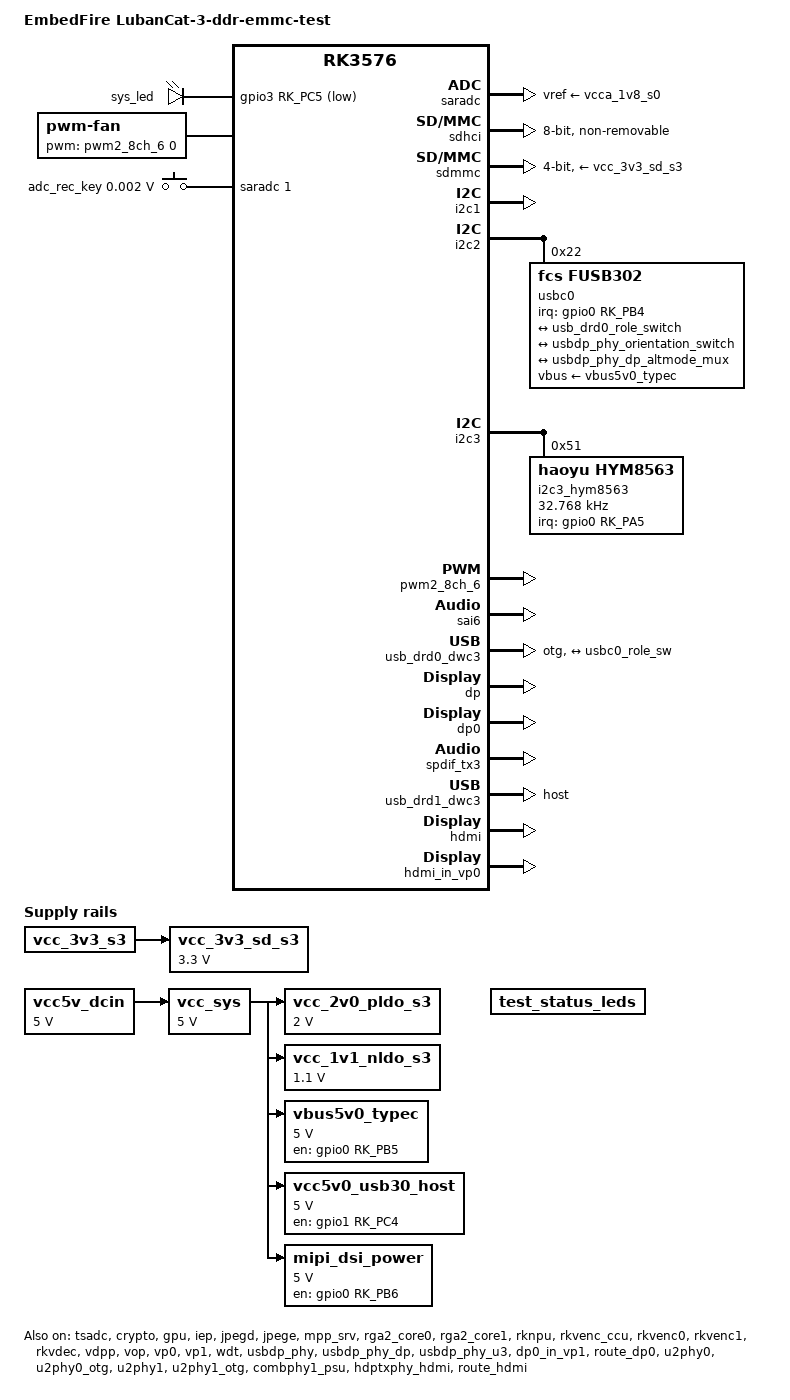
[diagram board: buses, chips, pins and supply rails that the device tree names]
// SPDX-License-Identifier: (GPL-2.0+ OR MIT)
/*
* Copyright (c) 2024 Rockchip Electronics Co., Ltd.
* Copyright (c) 2026 EmbedFire <embedfire@embedfire.com>
*/

/dts-v1/;
#include <dt-bindings/usb/pd.h>
#include <dt-bindings/gpio/gpio.h>
#include <dt-bindings/pwm/pwm.h>
#include <dt-bindings/pinctrl/rockchip.h>
//#include <dt-bindings/input/rk-input.h>
#include <dt-bindings/input/linux-event-codes.h>
#include <dt-bindings/display/drm_mipi_dsi.h>
#include <dt-bindings/display/rockchip_vop.h>
#include <dt-bindings/sensor-dev.h>
#include "rk3576.dtsi"
#include "rk3576-linux.dtsi"
#include "rk3576-rk806.dtsi"

/ {
	model = "EmbedFire LubanCat-3-ddr-emmc-test";
	compatible = "embedfire,rk3576-lubancat-3-ddr-emmc-test", "rockchip,rk3576";

	vcc5v_dcin: vcc5v-dcin {
		compatible = "regulator-fixed";
		regulator-name = "vcc5v_dcin";
		regulator-always-on;
		regulator-boot-on;
		regulator-min-microvolt = <5000000>;
		regulator-max-microvolt = <5000000>;
	};

	vcc_sys: vcc5v0-sys {
		compatible = "regulator-fixed";
		regulator-name = "vcc_sys";
		regulator-always-on;
		regulator-boot-on;
		regulator-min-microvolt = <5000000>;
		regulator-max-microvolt = <5000000>;
		vin-supply = <&vcc5v_dcin>;
	};

	vcc_2v0_pldo_s3: vcc-2v0-pldo-s3 {
		compatible = "regulator-fixed";
		regulator-name = "vcc_2v0_pldo_s3";
		regulator-boot-on;
		regulator-always-on;
		regulator-min-microvolt = <2000000>;
		regulator-max-microvolt = <2000000>;
		vin-supply = <&vcc_sys>;
	};

	vcc_1v1_nldo_s3: vcc-1v1-nldo-s3 {
		compatible = "regulator-fixed";
		regulator-name = "vcc_1v1_nldo_s3";
		regulator-boot-on;
		regulator-always-on;
		regulator-min-microvolt = <1100000>;
		regulator-max-microvolt = <1100000>;
		vin-supply = <&vcc_sys>;
	};

	vcc_3v3_sd_s3: vcc-3v3-sd-s3 {
		compatible = "regulator-fixed";
		regulator-name = "vcc_3v3_sd_s3";
		regulator-always-on;
		regulator-boot-on;
		regulator-min-microvolt = <3300000>;
		regulator-max-microvolt = <3300000>;
		vin-supply = <&vcc_3v3_s3>;
	};

	vbus5v0_typec: vbus5v0-typec {
		compatible = "regulator-fixed";
		regulator-name = "vbus5v0_typec";
		regulator-min-microvolt = <5000000>;
		regulator-max-microvolt = <5000000>;
		enable-active-high;
		gpio = <&gpio0 RK_PB5 GPIO_ACTIVE_HIGH>;
		vin-supply = <&vcc_sys>;
		pinctrl-names = "default";
		pinctrl-0 = <&typec_vbus_en>;
	};

	vcc5v0_usb30_host: vcc5v0-usb30-host {
		compatible = "regulator-fixed";
		regulator-name = "vcc5v0_usb30_host";
		regulator-min-microvolt = <5000000>;
		regulator-max-microvolt = <5000000>;
		regulator-always-on;
		regulator-boot-on;
		enable-active-high;
		gpio = <&gpio1 RK_PC4 GPIO_ACTIVE_HIGH>;
		vin-supply = <&vcc_sys>;
		pinctrl-names = "default";
		pinctrl-0 = <&usb30_host_pwr_en>;
	};

	mipi_dsi_power: mipi-dsi-power {
		compatible = "regulator-fixed";
		regulator-name = "mipi_dsi_power";
		regulator-min-microvolt = <5000000>;
		regulator-max-microvolt = <5000000>;
		regulator-always-on;
		regulator-boot-on;
		enable-active-high;
		gpio = <&gpio0 RK_PB6 GPIO_ACTIVE_HIGH>;
		vin-supply = <&vcc_sys>;
		pinctrl-names = "default";
		pinctrl-0 = <&lcd_pwr_en>;
	};

	hdmi_sound: hdmi-sound {
		compatible = "rockchip,hdmi";
		rockchip,mclk-fs = <128>;
		rockchip,card-name = "rockchip-hdmi";
		rockchip,cpu = <&sai6>;
		rockchip,codec = <&hdmi>;
		rockchip,jack-det;
	};

	dp0_sound: dp0-sound {
		compatible = "rockchip,hdmi";
		rockchip,mclk-fs = <512>;
		rockchip,card-name = "rockchip-dp0";
		rockchip,cpu = <&spdif_tx3>;
		rockchip,codec = <&dp0 1>;
		rockchip,jack-det;
	};

	leds: leds {
		status = "okay";
		compatible = "gpio-leds";

		sys_led: sys-led {
			label = "sys_led";
			linux,default-trigger = "heartbeat";
			default-state = "on";
			gpios = <&gpio3 RK_PC5 GPIO_ACTIVE_LOW>;
			pinctrl-names = "default";
			pinctrl-0 = <&sys_status_led_pin>;
		};
	};

	test_status_leds: test-status-leds {
		compatible = "regulator-fixed";
		regulator-name = "test_status_leds";
		pinctrl-names = "default";
		pinctrl-0 = <&test_status_leds_pin>;
	};

	fan: pwm-fan {
		compatible = "pwm-fan";
		#cooling-cells = <2>;
		pwms = <&pwm2_8ch_6 0 5000 0>;
		cooling-levels = <0 100 150 200 255>;
		rockchip,temp-trips = <
			40000	1
			55000	2
			60000	3
			65000	4
		>;
	};

    adc_rec_keys: adc-rec-keys {
		compatible = "adc-keys";
		io-channels = <&saradc 1>;
		io-channel-names = "buttons";
		keyup-threshold-microvolt = <1800000>;
		poll-interval = <100>;

		adc-rec-key {
			label = "adc_rec_key";
			linux,code = <250>;
			press-threshold-microvolt = <1750>;
		};
	};

	test-power {
		status = "okay";
	};
};

&saradc {
	status = "okay";
	vref-supply = <&vcca_1v8_s0>;
};

&tsadc {
	status = "okay";
};

&sdhci {
	bus-width = <8>;
	no-sdio;
	no-sd;
	non-removable;
	max-frequency = <200000000>;
	mmc-hs400-1_8v;
	mmc-hs400-enhanced-strobe;
	full-pwr-cycle-in-suspend;
	status = "okay";
};

&sdmmc {
	max-frequency = <200000000>;
	no-sdio;
	no-mmc;
	bus-width = <4>;
	cap-mmc-highspeed;
	cap-sd-highspeed;
	disable-wp;
	sd-uhs-sdr104;
	vmmc-supply = <&vcc_3v3_sd_s3>;
	vqmmc-supply = <&vccio_sd_s0>;
	pinctrl-names = "default";
	pinctrl-0 = <&sdmmc0_clk &sdmmc0_cmd &sdmmc0_det &sdmmc0_bus4>;
	status = "okay";
};

&i2c1 {
	pinctrl-names = "default";
	pinctrl-0 = <&i2c1m0_xfer>;
	status = "okay";
};

&i2c2 {
	pinctrl-names = "default";
	pinctrl-0 = <&i2c2m0_xfer>;
	status = "okay";

	/* Typec Controller Fusb302 */
	usbc0: fusb302@22 {
		compatible = "fcs,fusb302";
		reg = <0x22>;
		interrupt-parent = <&gpio0>;
		interrupts = <RK_PB4 IRQ_TYPE_LEVEL_LOW>;
		pinctrl-names = "default";
		pinctrl-0 = <&fusb302_int>;
		vbus-supply = <&vbus5v0_typec>;
		status = "okay";

		ports {
			#address-cells = <1>;
			#size-cells = <0>;

			port@0 {
				reg = <0>;
				usbc0_role_sw: endpoint@0 {
					remote-endpoint = <&usb_drd0_role_switch>;
				};
			};
		};

		usb_con: connector {
			compatible = "usb-c-connector";
			label = "USB-C";
			data-role = "dual";
			power-role = "dual";
			try-power-role = "sink";
			op-sink-microwatt = <1000000>;
			sink-pdos =
				<PDO_FIXED(5000, 1000, PDO_FIXED_USB_COMM)>;
			source-pdos =
				<PDO_FIXED(5000, 3000, PDO_FIXED_USB_COMM)>;

			altmodes {
				#address-cells = <1>;
				#size-cells = <0>;

				altmode@0 {
					reg = <0>;
					svid = <0xff01>;
					vdo = <0xffffffff>;
				};
			};

			ports {
				#address-cells = <1>;
				#size-cells = <0>;

				port@0 {
					reg = <0>;
					usbc0_orien_sw: endpoint {
						remote-endpoint = <&usbdp_phy_orientation_switch>;
					};
				};

				port@1 {
					reg = <1>;
					dp_altmode_mux: endpoint {
						remote-endpoint = <&usbdp_phy_dp_altmode_mux>;
					};
				};
			};
		};
	};
};

&i2c3 {
	pinctrl-names = "default";
	pinctrl-0 = <&i2c3m0_xfer>;
	status = "okay";

	/* bm8563 rtc chip use rtc-hym8563 driver */
	i2c3_hym8563: i2c3-hym8563@51 {
		compatible = "haoyu,hym8563";
		reg = <0x51>;
		#clock-cells = <0>;
		clock-frequency = <32768>;
		clock-output-names = "hym8563";
		pinctrl-names = "default";
		pinctrl-0 = <&hym8563_int>;
		interrupt-parent = <&gpio0>;
		interrupts = <RK_PA5 IRQ_TYPE_LEVEL_LOW>;
		wakeup-source;
	};
};

&pwm2_8ch_6 {
	status = "okay";
	pinctrl-0 = <&pwm2m0_ch6>;
};

&cpu_l0 {
	cpu-supply = <&vdd_cpu_lit_s0>;
};

&cpu_b0 {
	cpu-supply = <&vdd_cpu_big_s0>;
};

&crypto {
	status = "okay";
};

&gpu {
	mali-supply = <&vdd_gpu_s0>;
	status = "okay";
};

&iep {
	status = "okay";
};

&iep_mmu {
	status = "okay";
};

&jpegd {
	status = "okay";
};

&jpege {
	status = "okay";
};

&jpeg_mmu {
	status = "okay";
};

&mpp_srv {
	status = "okay";
};

&rga2_core0 {
	status = "okay";
};

&rga2_core0_mmu {
	status = "okay";
};

&rga2_core1 {
	status = "okay";
};

&rga2_core1_mmu {
	status = "okay";
};

&rknpu {
	rknpu-supply = <&vdd_npu_s0>;
	status = "okay";
};

&rknpu_mmu {
	status = "okay";
};

&rkvenc_ccu {
	status = "okay";
};

&rkvenc0 {
	status = "okay";
};

&rkvenc0_mmu {
	status = "okay";
};

&rkvenc1 {
	status = "okay";
};

&rkvenc1_mmu {
	status = "okay";

};

&rkvdec {
	status = "okay";
};

&rkvdec_mmu {
	status = "okay";
};

&rockchip_suspend {
	status = "okay";
	rockchip,sleep-debug-en = <1>;

	rockchip,sleep-io-ret-config = <
		(0
		| RKPM_VCCIO3_RET_EN
		)
	>;

	rockchip,regulator-on-before-mem = <&vdd_npu_s0>;
};

&sai6 {
	status = "okay";
};

&vdpp {
	status = "okay";
};

&vop {
	status = "okay";
	vop-supply = <&vdd_logic_s0>;
};

&vop_mmu {
	status = "okay";
};

&vp0 {
	rockchip,plane-mask = <(1 << ROCKCHIP_VOP2_CLUSTER0 | 1 << ROCKCHIP_VOP2_ESMART0)>;
	rockchip,primary-plane = <ROCKCHIP_VOP2_ESMART0>;
	cursor-win-id = <ROCKCHIP_VOP2_CLUSTER0>;
};

&vp1 {
	rockchip,plane-mask = <(1 << ROCKCHIP_VOP2_CLUSTER1 | 1 << ROCKCHIP_VOP2_ESMART1)>;
	rockchip,primary-plane = <ROCKCHIP_VOP2_ESMART1>;
	cursor-win-id = <ROCKCHIP_VOP2_CLUSTER1>;
};

&vp2 {
	rockchip,plane-mask = <(1 << ROCKCHIP_VOP2_ESMART2 | 1 << ROCKCHIP_VOP2_ESMART3)>;
	rockchip,primary-plane = <ROCKCHIP_VOP2_ESMART2>;
	cursor-win-id = <ROCKCHIP_VOP2_ESMART3>;
};

&vp2 {
	esmart_lb_mode = /bits/ 8 <5>;
};

/* this is a watchdog */
&wdt {
	status = "okay";
};

/* USB3 OTG0/DP1.4 Alt */
&usbdp_phy {
	orientation-switch;
	svid = <0xff01>;
	sbu1-dc-gpios = <&gpio4 RK_PC4 GPIO_ACTIVE_HIGH>;
	sbu2-dc-gpios = <&gpio4 RK_PC5 GPIO_ACTIVE_HIGH>;
	status = "okay";

	port {
		#address-cells = <1>;
		#size-cells = <0>;

		usbdp_phy_orientation_switch: endpoint@0 {
			reg = <0>;
			remote-endpoint = <&usbc0_orien_sw>;
		};

		usbdp_phy_dp_altmode_mux: endpoint@1 {
			reg = <1>;
			remote-endpoint = <&dp_altmode_mux>;
		};
	};
};

&usbdp_phy_dp {
	status = "okay";
};

&usbdp_phy_u3 {
	status = "okay";
};

&usb_drd0_dwc3 {
	dr_mode = "otg";
	usb-role-switch;
	status = "okay";
	snps,parkmode-disable-hs-quirk;
	snps,parkmode-disable-ss-quirk;
	snps,dis_u3_susphy_quirk;
	snps,dis_u2_susphy_quirk;
	port {
		usb_drd0_role_switch: endpoint {
			remote-endpoint = <&usbc0_role_sw>;
		};
	};
};

/* DP */
&dp {
	status = "okay";
};

&dp0 {
	status = "okay";
};

&dp0_in_vp0 {
	status = "disabled";
};

&dp0_in_vp1 {
	status = "okay";
};

&dp0_in_vp2 {
	status = "disabled";
};

&vp1 {
	status = "okay";
};

&route_dp0 {
	status = "okay";
	connect = <&vp1_out_dp0>;
};

&dp0_sound {
	status = "okay";
};

&spdif_tx3 {
	status = "okay";
};

/* USB2 OTG0 */
&u2phy0 {
	status = "okay";
};

&u2phy0_otg {
	rockchip,typec-vbus-det;
	status = "okay";
};

/* USB2 OTG1 */
&u2phy1 {
	status = "okay";
};

&u2phy1_otg {
	phy-supply = <&vcc5v0_usb30_host>;
	dr_mode = "host";
	status = "okay";
};

/* PCIE1/SATA1/USB3_OTG1 Combo PHY1 */
&combphy1_psu {
	status = "okay";
};

&usb_drd1_dwc3 {
	dr_mode = "host";
	status = "okay";
	snps,parkmode-disable-hs-quirk;
	snps,parkmode-disable-ss-quirk;
	snps,dis_u3_susphy_quirk;
	snps,dis_u2_susphy_quirk;
};

/* HDMI TX/eDP TX Combo Phy */
&display_subsystem {
	clocks = <&hdptxphy_hdmi>;
	clock-names = "hdmi0_phy_pll";
};

&hdmi {
	enable-gpios = <&gpio4 RK_PC6 GPIO_ACTIVE_HIGH>;
	cec-enable = "true";
	rockchip,sda-falling-delay-ns = <360>;
	status = "okay";
};

&vp0 {
	status = "okay";
};

&hdmi_in_vp0 {
	status = "okay";
};

&hdmi_in_vp1 {
	status = "disabled";
};

&hdmi_in_vp2 {
	status = "disabled";
};

&hdmi_in_vopl {
	status = "disabled";
};

&hdptxphy_hdmi {
	status = "okay";
};

&route_hdmi {
	status = "okay";
	connect = <&vp0_out_hdmi>;
};

&hdmi_sound {
	status = "okay";
};

&pinctrl {
	leds {
		sys_status_led_pin: sys-status-led-pin {
			rockchip,pins = <3 RK_PC5 RK_FUNC_GPIO &pcfg_pull_none>;
		};

		test_status_leds_pin: test-status-leds-pin {
			rockchip,pins =
				<3 RK_PC6 RK_FUNC_GPIO &pcfg_pull_up>,
				<3 RK_PC7 RK_FUNC_GPIO &pcfg_pull_up>;
		};
	};

	hym8563 {
		hym8563_int: hym8563-int {
			rockchip,pins = <0 RK_PA5 RK_FUNC_GPIO &pcfg_pull_up>;
		};
	};

	usb-typec {
		fusb302_int: fusb302-int {
			rockchip,pins = <0 RK_PB4 RK_FUNC_GPIO &pcfg_pull_up>;
		};

		typec_vbus_en: typec-vbus-en {
			rockchip,pins = <0 RK_PB5 RK_FUNC_GPIO &pcfg_pull_none>;
		};
	};

	usb-host {
		usb30_host_pwr_en: usb30-host-pwr-en {
			rockchip,pins = <1 RK_PC4 RK_FUNC_GPIO &pcfg_pull_none>;
		};
	};

	mipi-dsi {
		lcd_pwr_en: lcd-pwr-en {
			rockchip,pins = <0 RK_PB6 RK_FUNC_GPIO &pcfg_pull_none>;
		};
	};
};
